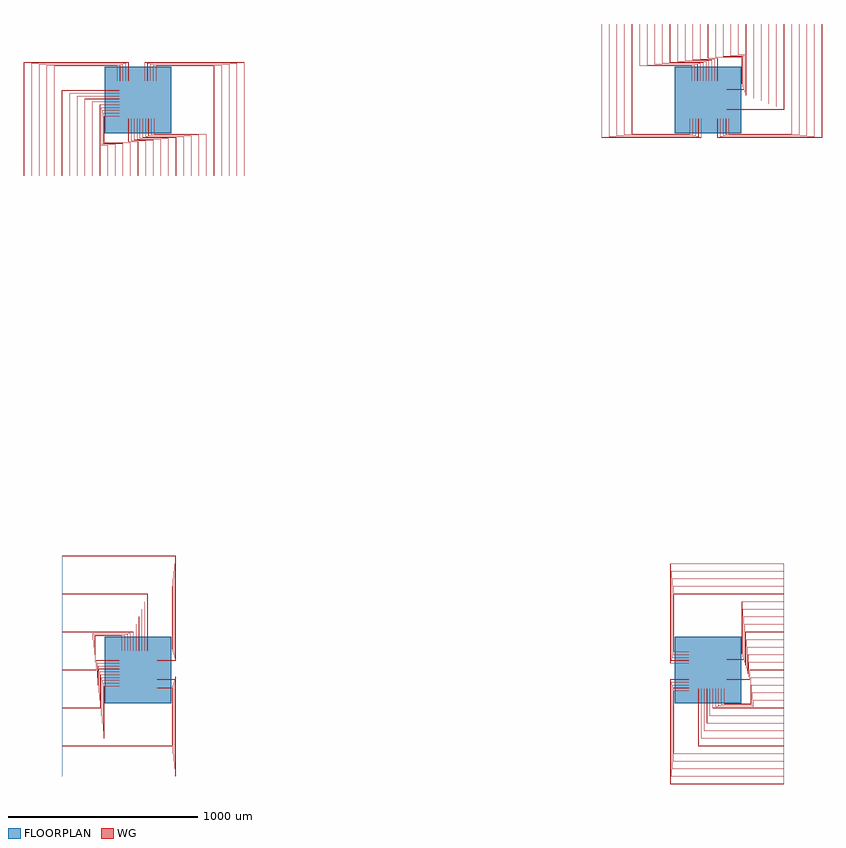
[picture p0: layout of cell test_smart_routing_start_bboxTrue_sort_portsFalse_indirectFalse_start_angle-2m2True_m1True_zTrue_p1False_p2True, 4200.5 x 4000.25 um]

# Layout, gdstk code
import gdstk
lib = gdstk.Library(unit=1e-6, precision=1e-09)
def R(c, l, rs):  # rectangles x0, y0, x1, y1
    for r in rs: c.add(gdstk.rectangle(r[:2], r[2:], *l))
def P(c, l, *ps):  # polygons
    for p in ps: c.add(gdstk.Polygon(p, *l))
WG = (1, 0)
FLOORPLAN = (10, 0)

test_smart_routing_start = lib.new_cell('test_smart_routing_start_bboxTrue_sort_portsFalse_indirectFalse_start_angle-2m2True_m1True_zTrue_p1False_p2True')
P(test_smart_routing_start, WG, [(3049.75,2802.5),(3049.75,2900),(3050.25,2900),(3050.25,2803),(3599.75,2803),(3599.75,3400),(3600.25,3400),(3600.25,2802.5)],
  [(3064.75,2807),(3064.75,2900),(3065.25,2900),(3065.25,2807.5),(3559.75,2807.5),(3559.75,3400),(3560.25,3400),(3560.25,2807)],
  [(3079.75,2811.5),(3079.75,2900),(3080.25,2900),(3080.25,2812),(3519.75,2812),(3519.75,3400),(3520.25,3400),(3520.25,2811.5)],
  [(3094.75,2816),(3094.75,2900),(3095.25,2900),(3095.25,2816.5),(3479.75,2816.5),(3479.75,3400),(3480.25,3400),(3480.25,2816)],
  [(3109.75,2820.5),(3109.75,2900),(3110.25,2900),(3110.25,2821),(3439.75,2821),(3439.75,3400),(3440.25,3400),(3440.25,2820.5)],
  [(3100,2949.75),(3100,2950.25),(3399.75,2950.25),(3399.75,3400),(3400.25,3400),(3400.25,2949.75)],
  [(3100,2964.75),(3100,2965.25),(3359.75,2965.25),(3359.75,3400),(3360.25,3400),(3360.25,2964.75)],
  [(3100,2979.75),(3100,2980.25),(3319.75,2980.25),(3319.75,3400),(3320.25,3400),(3320.25,2979.75)],
  [(3100,2994.75),(3100,2995.25),(3279.75,2995.25),(3279.75,3400),(3280.25,3400),(3280.25,2994.75)],
  [(3100,3009.75),(3100,3010.25),(3239.75,3010.25),(3239.75,3400),(3240.25,3400),(3240.25,3009.75)],
  [(3100,3024.75),(3100,3025.25),(3199.75,3025.25),(3199.75,3400),(3200.25,3400),(3200.25,3024.75)],
  [(3100,3039.75),(3100,3040.25),(3192.5,3040.25),(3192.5,3237.5),(3159.75,3237.5),(3159.75,3400),(3160.25,3400),(3160.25,3238),(3193,3238),(3193,3039.75)],
  [(3100,3054.75),(3100,3055.25),(3188,3055.25),(3188,3233),(3119.75,3233),(3119.75,3400),(3120.25,3400),(3120.25,3233.5),(3188.5,3233.5),(3188.5,3054.75)],
  [(3100,3069.75),(3100,3070.25),(3183.5,3070.25),(3183.5,3228.5),(3079.75,3228.5),(3079.75,3400),(3080.25,3400),(3080.25,3229),(3184,3229),(3184,3069.75)],
  [(3100,3084.75),(3100,3085.25),(3179,3085.25),(3179,3224),(3039.75,3224),(3039.75,3400),(3040.25,3400),(3040.25,3224.5),(3179.5,3224.5),(3179.5,3084.75)],
  [(3049.75,3100),(3049.75,3219.5),(2999.75,3219.5),(2999.75,3400),(3000.25,3400),(3000.25,3220),(3050.25,3220),(3050.25,3100)],
  [(3034.75,3100),(3034.75,3215),(2959.75,3215),(2959.75,3400),(2960.25,3400),(2960.25,3215.5),(3035.25,3215.5),(3035.25,3100)],
  [(3019.75,3100),(3019.75,3210.5),(2919.75,3210.5),(2919.75,3400),(2920.25,3400),(2920.25,3211),(3020.25,3211),(3020.25,3100)],
  [(3004.75,3100),(3004.75,3206),(2879.75,3206),(2879.75,3400),(2880.25,3400),(2880.25,3206.5),(3005.25,3206.5),(3005.25,3100)],
  [(2989.75,3100),(2989.75,3201.5),(2839.75,3201.5),(2839.75,3400),(2840.25,3400),(2840.25,3202),(2990.25,3202),(2990.25,3100)],
  [(2974.75,3100),(2974.75,3197),(2799.75,3197),(2799.75,3400),(2800.25,3400),(2800.25,3197.5),(2975.25,3197.5),(2975.25,3100)],
  [(2959.75,3100),(2959.75,3192.5),(2759.75,3192.5),(2759.75,3400),(2760.25,3400),(2760.25,3193),(2960.25,3193),(2960.25,3100)],
  [(2944.75,3100),(2944.75,3188),(2719.75,3188),(2719.75,3400),(2720.25,3400),(2720.25,3188.5),(2945.25,3188.5),(2945.25,3100)],
  [(2929.75,3100),(2929.75,3183.5),(2679.75,3183.5),(2679.75,3400),(2680.25,3400),(2680.25,3184),(2930.25,3184),(2930.25,3100)],
  [(2914.75,3100),(2914.75,3179),(2639.75,3179),(2639.75,3400),(2640.25,3400),(2640.25,3179.5),(2915.25,3179.5),(2915.25,3100)],
  [(2439.75,2802.5),(2439.75,3400),(2440.25,3400),(2440.25,2803),(2964.75,2803),(2964.75,2900),(2965.25,2900),(2965.25,2802.5)],
  [(2479.75,2807),(2479.75,3400),(2480.25,3400),(2480.25,2807.5),(2949.75,2807.5),(2949.75,2900),(2950.25,2900),(2950.25,2807)],
  [(2519.75,2811.5),(2519.75,3400),(2520.25,3400),(2520.25,2812),(2934.75,2812),(2934.75,2900),(2935.25,2900),(2935.25,2811.5)],
  [(2559.75,2816),(2559.75,3400),(2560.25,3400),(2560.25,2816.5),(2919.75,2816.5),(2919.75,2900),(2920.25,2900),(2920.25,2816)],
  [(2599.75,2820.5),(2599.75,3400),(2600.25,3400),(2600.25,2821),(2904.75,2821),(2904.75,2900),(2905.25,2900),(2905.25,2820.5)],
  [(-600.25,2600),(-600.25,3197.5),(-49.75,3197.5),(-49.75,3100),(-50.25,3100),(-50.25,3197),(-599.75,3197),(-599.75,2600)],
  [(-560.25,2600),(-560.25,3193),(-64.75,3193),(-64.75,3100),(-65.25,3100),(-65.25,3192.5),(-559.75,3192.5),(-559.75,2600)],
  [(-520.25,2600),(-520.25,3188.5),(-79.75,3188.5),(-79.75,3100),(-80.25,3100),(-80.25,3188),(-519.75,3188),(-519.75,2600)],
  [(-480.25,2600),(-480.25,3184),(-94.75,3184),(-94.75,3100),(-95.25,3100),(-95.25,3183.5),(-479.75,3183.5),(-479.75,2600)],
  [(-440.25,2600),(-440.25,3179.5),(-109.75,3179.5),(-109.75,3100),(-110.25,3100),(-110.25,3179),(-439.75,3179),(-439.75,2600)],
  [(-400.25,2600),(-400.25,3050.25),(-100,3050.25),(-100,3049.75),(-399.75,3049.75),(-399.75,2600)],
  [(-360.25,2600),(-360.25,3035.25),(-100,3035.25),(-100,3034.75),(-359.75,3034.75),(-359.75,2600)],
  [(-320.25,2600),(-320.25,3020.25),(-100,3020.25),(-100,3019.75),(-319.75,3019.75),(-319.75,2600)],
  [(-280.25,2600),(-280.25,3005.25),(-100,3005.25),(-100,3004.75),(-279.75,3004.75),(-279.75,2600)],
  [(-240.25,2600),(-240.25,2990.25),(-100,2990.25),(-100,2989.75),(-239.75,2989.75),(-239.75,2600)],
  [(-200.25,2600),(-200.25,2975.25),(-100,2975.25),(-100,2974.75),(-199.75,2974.75),(-199.75,2600)],
  [(-160.25,2600),(-160.25,2762),(-193,2762),(-193,2960.25),(-100,2960.25),(-100,2959.75),(-192.5,2959.75),(-192.5,2762.5),(-159.75,2762.5),(-159.75,2600)],
  [(-120.25,2600),(-120.25,2766.5),(-188.5,2766.5),(-188.5,2945.25),(-100,2945.25),(-100,2944.75),(-188,2944.75),(-188,2767),(-119.75,2767),(-119.75,2600)],
  [(-80.25,2600),(-80.25,2771),(-184,2771),(-184,2930.25),(-100,2930.25),(-100,2929.75),(-183.5,2929.75),(-183.5,2771.5),(-79.75,2771.5),(-79.75,2600)],
  [(-40.25,2600),(-40.25,2775.5),(-179.5,2775.5),(-179.5,2915.25),(-100,2915.25),(-100,2914.75),(-179,2914.75),(-179,2776),(-39.75,2776),(-39.75,2600)],
  [(-0.25,2600),(-0.25,2780),(-50.25,2780),(-50.25,2900),(-49.75,2900),(-49.75,2780.5),(0.25,2780.5),(0.25,2600)],
  [(39.75,2600),(39.75,2784.5),(-35.25,2784.5),(-35.25,2900),(-34.75,2900),(-34.75,2785),(40.25,2785),(40.25,2600)],
  [(79.75,2600),(79.75,2789),(-20.25,2789),(-20.25,2900),(-19.75,2900),(-19.75,2789.5),(80.25,2789.5),(80.25,2600)],
  [(119.75,2600),(119.75,2793.5),(-5.25,2793.5),(-5.25,2900),(-4.75,2900),(-4.75,2794),(120.25,2794),(120.25,2600)],
  [(159.75,2600),(159.75,2798),(9.75,2798),(9.75,2900),(10.25,2900),(10.25,2798.5),(160.25,2798.5),(160.25,2600)],
  [(199.75,2600),(199.75,2802.5),(24.75,2802.5),(24.75,2900),(25.25,2900),(25.25,2803),(200.25,2803),(200.25,2600)],
  [(239.75,2600),(239.75,2807),(39.75,2807),(39.75,2900),(40.25,2900),(40.25,2807.5),(240.25,2807.5),(240.25,2600)],
  [(279.75,2600),(279.75,2811.5),(54.75,2811.5),(54.75,2900),(55.25,2900),(55.25,2812),(280.25,2812),(280.25,2600)],
  [(319.75,2600),(319.75,2816),(69.75,2816),(69.75,2900),(70.25,2900),(70.25,2816.5),(320.25,2816.5),(320.25,2600)],
  [(359.75,2600),(359.75,2820.5),(84.75,2820.5),(84.75,2900),(85.25,2900),(85.25,2821),(360.25,2821),(360.25,2600)],
  [(559.75,2600),(559.75,3197),(35.25,3197),(35.25,3100),(34.75,3100),(34.75,3197.5),(560.25,3197.5),(560.25,2600)],
  [(519.75,2600),(519.75,3192.5),(50.25,3192.5),(50.25,3100),(49.75,3100),(49.75,3193),(520.25,3193),(520.25,2600)],
  [(479.75,2600),(479.75,3188),(65.25,3188),(65.25,3100),(64.75,3100),(64.75,3188.5),(480.25,3188.5),(480.25,2600)],
  [(439.75,2600),(439.75,3183.5),(80.25,3183.5),(80.25,3100),(79.75,3100),(79.75,3184),(440.25,3184),(440.25,2600)],
  [(399.75,2600),(399.75,3179),(95.25,3179),(95.25,3100),(94.75,3100),(94.75,3179.5),(400.25,3179.5),(400.25,2600)],
  [(100,49.75),(100,50.25),(197,50.25),(197,599.75),(-400,599.75),(-400,600.25),(197.5,600.25),(197.5,49.75)],
  [(100,64.75),(100,65.25),(192.5,65.25),(192.5,559.75),(-400,559.75),(-400,560.25),(193,560.25),(193,64.75)],
  [(100,79.75),(100,80.25),(188,80.25),(188,519.75),(-400,519.75),(-400,520.25),(188.5,520.25),(188.5,79.75)],
  [(100,94.75),(100,95.25),(183.5,95.25),(183.5,479.75),(-400,479.75),(-400,480.25),(184,480.25),(184,94.75)],
  [(100,109.75),(100,110.25),(179,110.25),(179,439.75),(-400,439.75),(-400,440.25),(179.5,440.25),(179.5,109.75)],
  [(49.75,100),(49.75,399.75),(-400,399.75),(-400,400.25),(50.25,400.25),(50.25,100)],
  [(34.75,100),(34.75,359.75),(-400,359.75),(-400,360.25),(35.25,360.25),(35.25,100)],
  [(19.75,100),(19.75,319.75),(-400,319.75),(-400,320.25),(20.25,320.25),(20.25,100)],
  [(4.75,100),(4.75,279.75),(-400,279.75),(-400,280.25),(5.25,280.25),(5.25,100)],
  [(-10.25,100),(-10.25,239.75),(-400,239.75),(-400,240.25),(-9.75,240.25),(-9.75,100)],
  [(-25.25,100),(-25.25,199.75),(-400,199.75),(-400,200.25),(-24.75,200.25),(-24.75,100)],
  [(-40.25,100),(-40.25,192.5),(-237.5,192.5),(-237.5,159.75),(-400,159.75),(-400,160.25),(-238,160.25),(-238,193),(-39.75,193),(-39.75,100)],
  [(-55.25,100),(-55.25,188),(-233,188),(-233,119.75),(-400,119.75),(-400,120.25),(-233.5,120.25),(-233.5,188.5),(-54.75,188.5),(-54.75,100)],
  [(-400,79.75),(-400,80.25),(-229,80.25),(-229,184),(-69.75,184),(-69.75,100),(-70.25,100),(-70.25,183.5),(-228.5,183.5),(-228.5,79.75)],
  [(-400,39.75),(-400,40.25),(-224.5,40.25),(-224.5,179.5),(-84.75,179.5),(-84.75,100),(-85.25,100),(-85.25,179),(-224,179),(-224,39.75)],
  [(-400,-0.25),(-400,0.25),(-220,0.25),(-220,50.25),(-100,50.25),(-100,49.75),(-219.5,49.75),(-219.5,-0.25)],
  [(-400,-40.25),(-400,-39.75),(-215.5,-39.75),(-215.5,35.25),(-100,35.25),(-100,34.75),(-215,34.75),(-215,-40.25)],
  [(-400,-80.25),(-400,-79.75),(-211,-79.75),(-211,20.25),(-100,20.25),(-100,19.75),(-210.5,19.75),(-210.5,-80.25)],
  [(-400,-120.25),(-400,-119.75),(-206.5,-119.75),(-206.5,5.25),(-100,5.25),(-100,4.75),(-206,4.75),(-206,-120.25)],
  [(-400,-160.25),(-400,-159.75),(-202,-159.75),(-202,-9.75),(-100,-9.75),(-100,-10.25),(-201.5,-10.25),(-201.5,-160.25)],
  [(-400,-200.25),(-400,-199.75),(-197.5,-199.75),(-197.5,-24.75),(-100,-24.75),(-100,-25.25),(-197,-25.25),(-197,-200.25)],
  [(-400,-240.25),(-400,-239.75),(-193,-239.75),(-193,-39.75),(-100,-39.75),(-100,-40.25),(-192.5,-40.25),(-192.5,-240.25)],
  [(-400,-280.25),(-400,-279.75),(-188.5,-279.75),(-188.5,-54.75),(-100,-54.75),(-100,-55.25),(-188,-55.25),(-188,-280.25)],
  [(-400,-320.25),(-400,-319.75),(-184,-319.75),(-184,-69.75),(-100,-69.75),(-100,-70.25),(-183.5,-70.25),(-183.5,-320.25)],
  [(-400,-360.25),(-400,-359.75),(-179.5,-359.75),(-179.5,-84.75),(-100,-84.75),(-100,-85.25),(-179,-85.25),(-179,-360.25)],
  [(-400,-560.25),(-400,-559.75),(197,-559.75),(197,-35.25),(100,-35.25),(100,-34.75),(197.5,-34.75),(197.5,-560.25)],
  [(-400,-520.25),(-400,-519.75),(192.5,-519.75),(192.5,-50.25),(100,-50.25),(100,-49.75),(193,-49.75),(193,-520.25)],
  [(-400,-480.25),(-400,-479.75),(188,-479.75),(188,-65.25),(100,-65.25),(100,-64.75),(188.5,-64.75),(188.5,-480.25)],
  [(-400,-440.25),(-400,-439.75),(183.5,-439.75),(183.5,-80.25),(100,-80.25),(100,-79.75),(184,-79.75),(184,-440.25)],
  [(-400,-400.25),(-400,-399.75),(179,-399.75),(179,-95.25),(100,-95.25),(100,-94.75),(179.5,-94.75),(179.5,-400.25)],
  [(2802.5,-600.25),(2802.5,-49.75),(2900,-49.75),(2900,-50.25),(2803,-50.25),(2803,-599.75),(3400,-599.75),(3400,-600.25)],
  [(2807,-560.25),(2807,-64.75),(2900,-64.75),(2900,-65.25),(2807.5,-65.25),(2807.5,-559.75),(3400,-559.75),(3400,-560.25)],
  [(2811.5,-520.25),(2811.5,-79.75),(2900,-79.75),(2900,-80.25),(2812,-80.25),(2812,-519.75),(3400,-519.75),(3400,-520.25)],
  [(2816,-480.25),(2816,-94.75),(2900,-94.75),(2900,-95.25),(2816.5,-95.25),(2816.5,-479.75),(3400,-479.75),(3400,-480.25)],
  [(2820.5,-440.25),(2820.5,-109.75),(2900,-109.75),(2900,-110.25),(2821,-110.25),(2821,-439.75),(3400,-439.75),(3400,-440.25)],
  [(2949.75,-400.25),(2949.75,-100),(2950.25,-100),(2950.25,-399.75),(3400,-399.75),(3400,-400.25)],
  [(2964.75,-360.25),(2964.75,-100),(2965.25,-100),(2965.25,-359.75),(3400,-359.75),(3400,-360.25)],
  [(2979.75,-320.25),(2979.75,-100),(2980.25,-100),(2980.25,-319.75),(3400,-319.75),(3400,-320.25)],
  [(2994.75,-280.25),(2994.75,-100),(2995.25,-100),(2995.25,-279.75),(3400,-279.75),(3400,-280.25)],
  [(3009.75,-240.25),(3009.75,-100),(3010.25,-100),(3010.25,-239.75),(3400,-239.75),(3400,-240.25)],
  [(3024.75,-200.25),(3024.75,-100),(3025.25,-100),(3025.25,-199.75),(3400,-199.75),(3400,-200.25)],
  [(3039.75,-193),(3039.75,-100),(3040.25,-100),(3040.25,-192.5),(3237.5,-192.5),(3237.5,-159.75),(3400,-159.75),(3400,-160.25),(3238,-160.25),(3238,-193)],
  [(3054.75,-188.5),(3054.75,-100),(3055.25,-100),(3055.25,-188),(3233,-188),(3233,-119.75),(3400,-119.75),(3400,-120.25),(3233.5,-120.25),(3233.5,-188.5)],
  [(3069.75,-184),(3069.75,-100),(3070.25,-100),(3070.25,-183.5),(3228.5,-183.5),(3228.5,-79.75),(3400,-79.75),(3400,-80.25),(3229,-80.25),(3229,-184)],
  [(3084.75,-179.5),(3084.75,-100),(3085.25,-100),(3085.25,-179),(3224,-179),(3224,-39.75),(3400,-39.75),(3400,-40.25),(3224.5,-40.25),(3224.5,-179.5)],
  [(3100,-50.25),(3100,-49.75),(3219.5,-49.75),(3219.5,0.25),(3400,0.25),(3400,-0.25),(3220,-0.25),(3220,-50.25)],
  [(3100,-35.25),(3100,-34.75),(3215,-34.75),(3215,40.25),(3400,40.25),(3400,39.75),(3215.5,39.75),(3215.5,-35.25)],
  [(3100,-20.25),(3100,-19.75),(3210.5,-19.75),(3210.5,80.25),(3400,80.25),(3400,79.75),(3211,79.75),(3211,-20.25)],
  [(3100,-5.25),(3100,-4.75),(3206,-4.75),(3206,120.25),(3400,120.25),(3400,119.75),(3206.5,119.75),(3206.5,-5.25)],
  [(3100,9.75),(3100,10.25),(3201.5,10.25),(3201.5,160.25),(3400,160.25),(3400,159.75),(3202,159.75),(3202,9.75)],
  [(3100,24.75),(3100,25.25),(3197,25.25),(3197,200.25),(3400,200.25),(3400,199.75),(3197.5,199.75),(3197.5,24.75)],
  [(3100,39.75),(3100,40.25),(3192.5,40.25),(3192.5,240.25),(3400,240.25),(3400,239.75),(3193,239.75),(3193,39.75)],
  [(3100,54.75),(3100,55.25),(3188,55.25),(3188,280.25),(3400,280.25),(3400,279.75),(3188.5,279.75),(3188.5,54.75)],
  [(3100,69.75),(3100,70.25),(3183.5,70.25),(3183.5,320.25),(3400,320.25),(3400,319.75),(3184,319.75),(3184,69.75)],
  [(3100,84.75),(3100,85.25),(3179,85.25),(3179,360.25),(3400,360.25),(3400,359.75),(3179.5,359.75),(3179.5,84.75)],
  [(2802.5,34.75),(2802.5,560.25),(3400,560.25),(3400,559.75),(2803,559.75),(2803,35.25),(2900,35.25),(2900,34.75)],
  [(2807,49.75),(2807,520.25),(3400,520.25),(3400,519.75),(2807.5,519.75),(2807.5,50.25),(2900,50.25),(2900,49.75)],
  [(2811.5,64.75),(2811.5,480.25),(3400,480.25),(3400,479.75),(2812,479.75),(2812,65.25),(2900,65.25),(2900,64.75)],
  [(2816,79.75),(2816,440.25),(3400,440.25),(3400,439.75),(2816.5,439.75),(2816.5,80.25),(2900,80.25),(2900,79.75)],
  [(2820.5,94.75),(2820.5,400.25),(3400,400.25),(3400,399.75),(2821,399.75),(2821,95.25),(2900,95.25),(2900,94.75)])
R(test_smart_routing_start, FLOORPLAN, [(-175,-175,175,175), (2825,-175,3175,175), (-175,2825,175,3175), (2825,2825,3175,3175)])
P(test_smart_routing_start, FLOORPLAN, [(-400,-560),(-400,600),(-400,600),(-400,-560)],
  [(-600,2600),(-600,2600),(560,2600),(560,2600)],
  [(3400,-600),(3400,560),(3400,560),(3400,-600)],
  [(2440,3400),(2440,3400),(3600,3400),(3600,3400)])

lib.write_gds('test_smart_routing_start_bboxTrue_sort_portsFalse_indirectFalse_start_angle-2m2True_m1True_zTrue_p1False_p2True.gds')
